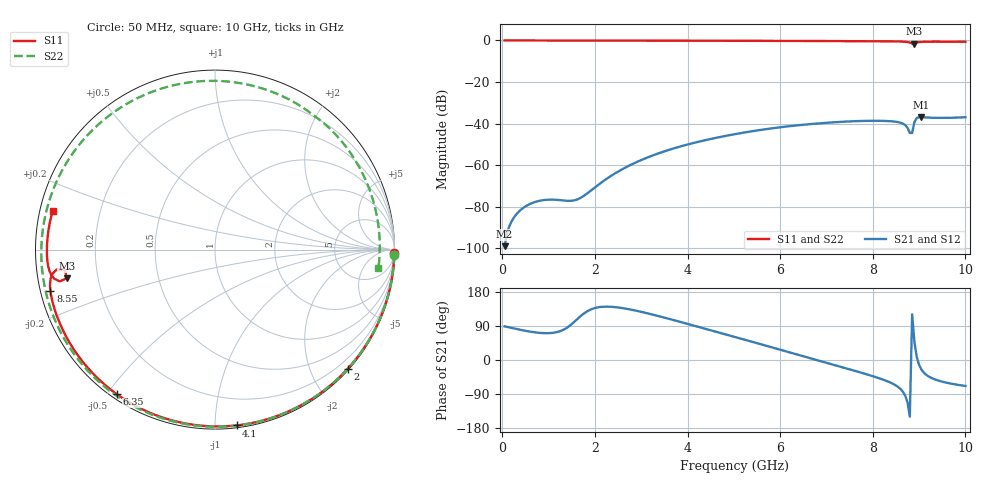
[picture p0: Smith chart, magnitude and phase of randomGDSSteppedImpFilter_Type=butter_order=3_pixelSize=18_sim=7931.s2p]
! freq	dB(S11)	phase(S11)	dB(S12)	phase(S12)
!  dB(S21)	phase(S21)	dB(S22)	phase(S22)
!S-par simulation data
#  GHz  S  DB  R 50
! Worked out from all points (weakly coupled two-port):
!   200 points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, 50 MHz to 10 GHz, reference 50 ohm
!   highest |S21| = -36.90 dB at 9.05 GHz (marker M1); lowest = -98.9 dB at 50 MHz (marker M2)
!   lowest |S11| = -1.5 dB at 8.9 GHz (marker M3), VSWR 11.60, Z = 4.35 - j4.75 ohm
!   |S11| at or under -10 dB: nowhere
!   |S22| runs from -0.8 to 0.0 dB; largest |S21 - S12| = 0
!   S11 on the Smith chart (normalised r, x): 50 MHz: open; 2 GHz: 0.02, -2.61; 4.1 GHz: 0.02, -1.13; 6.35 GHz: 0.02, -0.53; 8.55 GHz: 0.03, -0.12; 10 GHz: 0.04, +0.12
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0.05  -0.00 -1.1  -98.93 88.8  -98.93 88.8  -0.00 -1.7
0.5  -0.01 -10.6  -79.82 77.0  -79.82 77.0  -0.02 -17.1
0.85  -0.02 -18.0  -76.92 71.2  -76.92 71.2  -0.03 -29.0
1.5  -0.04 -31.6  -77.09 94.7  -77.09 94.7  -0.06 -50.5
1.75  -0.05 -36.8  -74.91 121.7  -74.91 121.7  -0.07 -58.6
2  -0.05 -41.9  -70.69 137.1  -70.69 137.1  -0.08 -66.6
2.65  -0.07 -54.9  -61.22 135.9  -61.22 135.9  -0.11 -86.8
3.4  -0.09 -69.7  -54.08 115.1  -54.08 115.1  -0.14 -109.4
4.1  -0.12 -83.0  -49.46 92.0  -49.46 92.0  -0.17 -130.0
5.05  -0.16 -100.6  -44.95 59.9  -44.95 59.9  -0.23 -158.0
5.7  -0.19 -112.4  -42.63 37.5  -42.63 37.5  -0.28 -178.0
6.35  -0.23 -124.1  -40.87 15.0  -40.87 15.0  -0.34 160.6
6.7  -0.26 -130.4  -40.13 3.0  -40.13 3.0  -0.37 148.2
7.6  -0.34 -146.9  -38.84 -28.0  -38.84 -28.0  -0.47 112.9
8.35  -0.43 -161.5  -38.80 -57.9  -38.80 -57.9  -0.56 78.7
8.55  -0.49 -165.9  -39.30 -71.4  -39.30 -71.4  -0.59 68.9
8.7  -0.63 -169.9  -40.69 -94.0  -40.69 -94.0  -0.61 61.3
8.85  -1.48 -172.4  -44.49 120.6  -44.49 120.6  -0.65 53.8
8.9  -1.50 -169.1  -39.23 46.6  -39.23 46.6  -0.64 51.3
9.05  -0.69 -171.3  -36.90 -25.1  -36.90 -25.1  -0.64 43.4
9.55  -0.58 176.5  -37.24 -58.8  -37.24 -58.8  -0.70 17.0
10  -0.63 166.5  -36.91 -68.5  -36.91 -68.5  -0.76 -6.5
